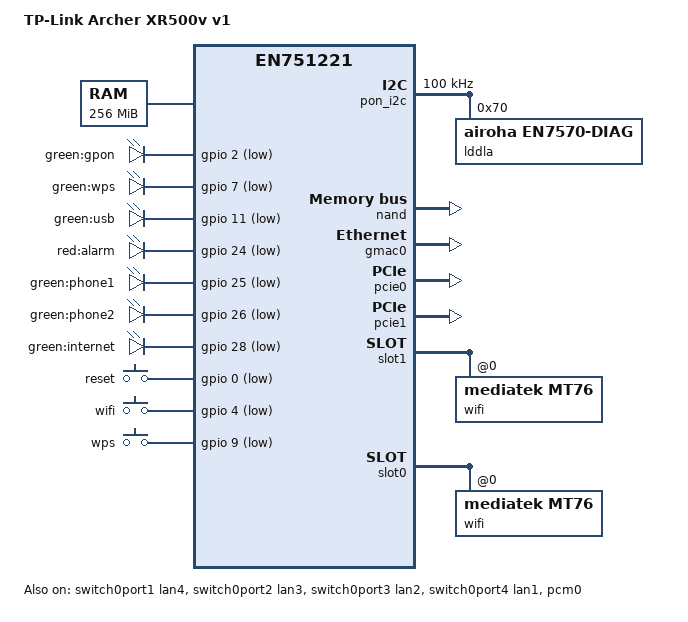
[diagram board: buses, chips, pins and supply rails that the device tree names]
// SPDX-License-Identifier: (GPL-2.0-only OR BSD-2-Clause)
/dts-v1/;

#include "en751221.dtsi"
#include <dt-bindings/gpio/gpio.h>
#include <dt-bindings/input/input.h>

/ {
	model = "TP-Link Archer XR500v v1";
	compatible = "tplink,archer-xr500v", "econet,en751221";

	memory@0 {
		device_type = "memory";
		reg = <0x00000000 0x10000000>;
	};

	/* EN751221 PON-I2C source clock, matching the OEM and the upstream
	 * econet-eth-mainline model. The existing tc3162 GPIO driver leaves
	 * CHIP_SCUL 0x104 PON-I2C pinmux bit enabled on this board. */
	pon_i2c_clock: pon-i2c-clock {
		compatible = "fixed-clock";
		#clock-cells = <0>;
		clock-frequency = <20000000>;
	};

	pon_i2c: i2c@1fbf8000 {
		compatible = "mediatek,mt7621-i2c";
		reg = <0x1fbf8000 0x100>;
		clocks = <&pon_i2c_clock>;
		clock-frequency = <100000>;
		#address-cells = <1>;
		#size-cells = <0>;
		status = "okay";

		/* Diagnostic-only binding: reads ID/variant and raw OEM status bits;
		 * deliberately has no reset, init, latch-clear, laser, APD, ADC, or
		 * DDMI paths. */
		lddla@70 {
			compatible = "airoha,en7570-diag";
			reg = <0x70>;
		};
	};

	/* build #63: reserved high region for the PPE FoE table, OEM-style
	 * (OEM PpeFoeBase = ioremap(0x0dc00000)). no-map -> kernel never uses
	 * it; the econet-eth driver accesses it uncached via KSEG1. Testing if
	 * the FE DMA master only materializes FORWARD_BUILD entries here. */
	reserved-memory {
		#address-cells = <1>;
		#size-cells = <1>;
		ranges;

		ppe_foe_rsv: ppe-foe@dc00000 {
			reg = <0x0dc00000 0x00180000>;
			no-map;
		};

		/* panic-capture (plan wf_b4447b85): best-effort ramoops at the
		 * TOP 1 MiB of the 256 MiB (avoids low PHY-training scratch).
		 * RAM survival across the warm reset is likely-not-proven (closed
		 * DDR init ROM); netconsole in bootargs is the PRIMARY capture.
		 * ecc-size: reed-solomon corrects sparse DRAM decay over the
		 * ~100 ms refresh-less reset gap. */
		ramoops@ff00000 {
			compatible = "ramoops";
			reg = <0x0ff00000 0x00100000>;
			record-size  = <0x00020000>;
			console-size = <0x00040000>;
			pmsg-size    = <0x00020000>;
			ftrace-size  = <0x00000000>;
			ecc-size     = <16>;
			max-reason   = <5>;	/* KMSG_DUMP_OOPS and worse */
			no-map;
		};
	};

	chosen {
		stdout-path = "/serial@1fbf0000:115200";
		/*
		 * UBI overlay is attached at preinit time by
		 * /lib/preinit/79_ubi_attach (see base-files), NOT via kernel
		 * cmdline ubi.mtd=. The kernel-time auto-attach was found to
		 * mismark OOB on this NAND via en75_bmt, breaking subsequent
		 * userspace ubiformat. Userspace ubiattach is consistent.
		 *
		 * netconsole (panic-capture PRIMARY): cmdline is empty +
		 * MIPS_CMDLINE_FROM_DTB=y, so this IS the kernel cmdline. dev
		 * MUST be eth0 (only netdev at netconsole's late_initcall; the
		 * DSA user ports appear much later and netpoll rejects them);
		 * eth0 has no IP so src-ip is required. Receiver = .8, dst-mac
		 * baked (NETCONSOLE_DYNAMIC off to save kernel bytes).
		 */
		bootargs = "console=ttyS0,115200 netconsole=6665@192.168.68.222/eth0,6666@192.168.68.8/bc:24:11:a4:b6:6c";
	};

	leds {
		compatible = "gpio-leds";

		led-2  { label = "green:gpon";     gpios = <&gpio 2  GPIO_ACTIVE_LOW>; linux,default-trigger = "default-on"; };
		led-7  { label = "green:wps";      gpios = <&gpio 7  GPIO_ACTIVE_LOW>; };
		led-11 { label = "green:usb";      gpios = <&gpio 11 GPIO_ACTIVE_LOW>; };
		/* WiFi 2.4/5GHz LEDs are inside the MT7603/MT7662 chips (driven by
		 * the mt76 cdevs mt76-phy0/mt76-phy1), NOT these SoC GPIOs. */
		led-24 { label = "red:alarm";      gpios = <&gpio 24 GPIO_ACTIVE_LOW>; };
		led-25 { label = "green:phone1";   gpios = <&gpio 25 GPIO_ACTIVE_LOW>; };
		led-26 { label = "green:phone2";   gpios = <&gpio 26 GPIO_ACTIVE_LOW>; };
		led-28 { label = "green:internet"; gpios = <&gpio 28 GPIO_ACTIVE_LOW>; };
	};

	/*
	 * Rear-panel buttons. GPIO lines reverse-engineered from the OEM
	 * tp_gpio.ko (tp_btn_def table: RST=gpio0, WIFI=gpio4, WPS=gpio9) and
	 * confirmed empirically on the device: each line idles high and is
	 * pulled low while pressed (active-low). The reset long-press window of
	 * 0x32=50 polls x 100 ms = 5 s in the OEM table matches the user-guide's
	 * "hold 5 s to factory reset".
	 *
	 * gpio-keys-polled (not gpio-keys): the tc3162-gpio controller exposes
	 * no per-line interrupts, so the buttons must be polled. The OpenWrt
	 * gpio-button-hotplug driver binds this node and emits BUTTON= hotplug
	 * events to /etc/rc.button/{reset,rfkill,wps}.
	 */
	keys {
		compatible = "gpio-keys-polled";
		poll-interval = <20>;

		reset {
			label = "reset";
			linux,code = <KEY_RESTART>;
			gpios = <&gpio 0 GPIO_ACTIVE_LOW>;
			debounce-interval = <60>;
		};

		wifi {
			label = "wifi";
			linux,code = <KEY_RFKILL>;
			gpios = <&gpio 4 GPIO_ACTIVE_LOW>;
			debounce-interval = <60>;
		};

		wps {
			label = "wps";
			linux,code = <KEY_WPS_BUTTON>;
			gpios = <&gpio 9 GPIO_ACTIVE_LOW>;
			debounce-interval = <60>;
		};
	};
};

&nand {
	status = "okay";
	econet,bmt;
	/*
	 * Allow en75_bmt to write a Bad Block Table to the NAND reserve
	 * area on first boot. Without this property the driver gives up
	 * with "BBT not found" and falls back to per-boot OOB scanning,
	 * which conflicts with UBI's ECC parity in OOB and causes UBI
	 * to misdetect every PEB as bad after a write. With BBT, the
	 * bad-block status comes from the table not the OOB markers,
	 * so UBI persistence works across reboots.
	 */
	econet,can-write-factory-bbt;
	/*
	 * Provide an empty factory-badblocks list so en75_bmt's pub_init takes
	 * the "factory_badblocks given -> reconstruct BMT only" branch and
	 * SKIPS the destructive r_reconstruct_bbt() OOB scan. The OOB scan
	 * walks every block reading byte 0 raw and treats non-0xFF as bad,
	 * but byte 0 gets contaminated by UBI's writes so the scan reports
	 * more false bad blocks each boot. With empty factory-badblocks,
	 * user-area shift stays at 0 across reboots, which keeps the UBIFS
	 * volume's logical->physical mapping stable.
	 *
	 * Real factory bad blocks (if any) in the user area are handled by
	 * UBI itself (CONFIG_MTD_UBI_BEB_LIMIT) — UBI marks them on first
	 * write/erase failure and skips them for life of the volume.
	 */
	econet,factory-badblocks = <>;

	partitions {
		compatible = "fixed-partitions";
		#address-cells = <1>;
		#size-cells = <1>;

		/* XR500v partition layout (from /proc/mtd stock firmware) */

		partition@0 {
			label = "boot";
			reg = <0x0 0x40000>;
			read-only;
		};

		partition@40000 {
			label = "romfile";
			reg = <0x40000 0x40000>;
			read-only;
		};

		partition@80000 {
			label = "kernel";
			reg = <0x80000 0x300000>;
		};

		partition@380000 {
			/*
			 * Slot A rootfs holds the stock OEM squashfs (LZMA-compressed).
			 * Renamed from "rootfs" to "rootfs_stock" so OpenWrt's
			 * mtdsplit-support patch (drivers/mtd/mtdpart.c) does NOT match
			 * this partition by name — otherwise mtdsplit_squashfs runs on
			 * mtd3 (stock) and the global rootfs_found flag prevents it
			 * from running on mtd7 (rootfs1) where we actually need the
			 * overlay split.
			 */
			label = "rootfs_stock";
			reg = <0x380000 0x1000000>;
			read-only;
		};

		misc_partition: partition@1380000 {
			compatible = "nvmem-cells";
			label = "misc";
			reg = <0x1380000 0x480000>;
			#address-cells = <1>;
			#size-cells = <1>;
			read-only;

			/*
			 * Factory-programmed device data lives in this partition.
			 * Confirmed via `dd if=/dev/mtd_misc skip=0xF100 count=6`
			 * matching the same offset in the OEM stock dump:
			 *   0xF100: <ETH MAC, 6 bytes>
			 * The rest of the partition (most of it) is 0xFF padding.
			 */
			macaddr_misc_f100: macaddr@f100 {
				reg = <0xf100 0x6>;
			};

			/*
			 * iter36: MT7662 factory EEPROM (chip ID 0x7662 confirmed
			 * at byte 0). 512 bytes containing calibration data
			 * (TX power per-channel, etc). The mt76x2e driver reads it via
			 * nvmem-cells = <&eeprom_misc_e0000>; nvmem-cell-names = "eeprom".
			 * Without this, the driver uses conservative defaults (TX=3dBm).
			 */
			eeprom_misc_e0000: eeprom@e0000 {
				reg = <0xe0000 0x200>;
			};
		};

		partition@1800000 {
			label = "kernel1";
			reg = <0x1800000 0x300000>;
		};

		partition@1b00000 {
			/*
			 * Slot B rootfs (raw squashfs).
			 * linux,rootfs marks this partition as the root device for
			 * mount_root. mtd-split-squashfs still creates a
			 * "rootfs_data" sub-partition automatically after the squashfs
			 * end, but from iter35 onwards we do NOT use it: the UBI overlay
			 * lives in its own "openwrt_ubi" partition in the free area
			 * 0x3000000-0x7000000 (confirmed empty with a full dump).
			 * The preinit hook 79_ubi_attach now points to openwrt_ubi.
			 */
			label = "rootfs1";
			reg = <0x1b00000 0x1000000>;
			linux,rootfs;
		};

		partition@2b00000 {
			label = "others";
			reg = <0x2b00000 0x4e0000>;
		};

		partition@2fe0000 {
			label = "bootflag";
			reg = <0x2fe0000 0x20000>;
		};

		/*
		 * iter35: dedicated UBI partition in the unused free area.
		 *
		 * The stock OEM exposes /dev/mtd0 = "ALL" at 0x07000000 (112MB)
		 * — that is the en75_bmt "user" space before its reserve area
		 * (922 user blocks * 128KB = ~115MB, OEM reports 112MB).
		 * The 9 existing partitions sum to 0x3000000 (48MB), leaving
		 * 0x3000000-0x7000000 (64MB) available. Confirmed erased
		 * with a full dump on 2026-05-08 (16 chunks of 4MB, all
		 * md5 hash = 4MB of 0xff).
		 *
		 * This partition is provisioned with ubiformat/ubiattach/ubimkvol
		 * from a running OpenWrt (one-time per device); the preinit hook
		 * 79_ubi_attach attaches it on every boot.
		 */
		partition@3000000 {
			label = "openwrt_ubi";
			reg = <0x3000000 0x4000000>;
		};
	};
};


&gmac0 {
	status = "okay";
	nvmem-cells = <&macaddr_misc_f100>;
	nvmem-cell-names = "mac-address";
};

/*
 * Plan B (correct model, Caleb's dual-switch MDIO/MCM):
 * switch0 is the MCM MT7530 (mediatek,mt7530 + mediatek,mcm) hanging off the
 * SoC ethernet's MDIO bus at address 0x1f. It has 4 user GE ports (port@0..3)
 * and port@6 = CPU (trgmii to gmac0). The on-die switch is configured by
 * the bootloader for the cascade and is NOT a DSA device.
 * Internal PHYs of the MCM switch are auto-detected by the mt7530 driver.
 */
&switch0port0 {
	status = "disabled";
};

&switch0port1 {
	status = "okay";
	label = "lan4";
};

&switch0port2 {
	status = "okay";
	label = "lan3";
};

&switch0port3 {
	status = "okay";
	label = "lan2";
};

&switch0port4 {
	status = "okay";
	label = "lan1";
};

/*
 * iter57 v2: Enable PCIe (lost status=okay during the dts rewrite)
 * pcie0 = port0 (no slot there)
 * pcie1 + slot1 = MT7662 WiFi card
 */

&pcie0 {
	status = "okay";
};

&pcie1 {
	status = "okay";
};

&slot1 {
	wifi@0,0 {
		/* MT7662 dual-band 802.11ac */
		compatible = "mediatek,mt76";
		reg = <0x0000 0 0 0 0>;
		nvmem-cells = <&eeprom_misc_e0000>, <&macaddr_misc_f100>;
		nvmem-cell-names = "eeprom", "mac-address";
		/* 5GHz MAC = base flash 0xf100 + 2 (= OEM scheme: wlan5 BSSID ...3A).
		 * Without this, the 5GHz stayed at the base ...38 and collided with the
		 * DSA conduit / 2.4 GHz when the MT7603 increment failed. */
		mac-address-increment = <2>;

		/* Panel 5GHz LED = MT7662 MAC LED pin 2, active-low. mt76
		 * kicks MT_LED_CTRL on pin 2; the phy1tpt throughput trigger
		 * is auto-assigned by the driver (no board.d/uci needed). */
		led {
			led-sources = <2>;
			led-active-low;
		};
	};
};

&slot0 {
	wifi@0,0 {
		/* MT7603 2.4GHz -- synthetic inline EEPROM (wall 2). MAC is a placeholder +
		 * cal from the real eFuse; replace with the real EEPROM in the future. */
		compatible = "mediatek,mt76";
		reg = <0x0000 0 0 0 0>;
		/* Real factory MAC: base flash 0xf100 + 1 (per-device, universal) */
		nvmem-cells = <&macaddr_misc_f100>;
		nvmem-cell-names = "mac-address";
		mac-address-increment = <1>;

		/* Panel 2.4GHz LED = MT7603 chip-internal GPIO12+GPIO13
		 * (active-low), driven by the mt7603 driver from the LED
		 * callbacks (phy0tpt trigger auto-assigned). */
		mediatek,gpio-led;

		mediatek,eeprom-data = /bits/ 8 <
			0x03 0x76 0x00 0x00 0x02 0x76 0x03 0x50 0x00 0x01 0x00 0x00 0x00 0x00 0x00 0x00
			0x00 0x00 0x00 0x00 0x00 0x00 0x00 0x00 0x00 0x00 0x00 0x00 0x00 0x00 0x00 0x00
			0x00 0x00 0x00 0x00 0x00 0x00 0x00 0x00 0x00 0x00 0x00 0x00 0x00 0x00 0x00 0x00
			0x00 0x00 0x00 0x00 0x22 0x00 0x00 0x00 0x00 0x00 0x00 0x00 0x00 0x00 0x00 0x00
			0x00 0x00 0x00 0x00 0x00 0x00 0x00 0x00 0x00 0x00 0x00 0x00 0x00 0x00 0x00 0x00
			0x00 0x00 0x00 0x00 0x00 0xb8 0x40 0xc8 0x20 0x00 0x00 0x00 0x40 0xc8 0x20 0x00
			0x00 0x00 0x00 0x00 0x00 0x00 0x00 0x00 0x00 0x00 0x00 0x00 0x00 0x00 0x00 0x00
			0x00 0x00 0x00 0x00 0x00 0x00 0x00 0x00 0x00 0x00 0x00 0x00 0x00 0x00 0x00 0x00
			0x00 0x00 0x00 0x00 0x00 0x00 0x00 0x00 0x00 0x00 0x00 0x00 0x00 0x00 0x00 0x00
			0x00 0x00 0x00 0x00 0x00 0x00 0x00 0x00 0x00 0x00 0x00 0x00 0x00 0x00 0x00 0x00
			0x00 0x00 0x00 0x00 0x00 0x00 0x00 0x00 0x00 0x00 0x00 0x00 0x00 0x00 0x00 0x00
			0x00 0x00 0x00 0x00 0x00 0x00 0x00 0x00 0x00 0x00 0x00 0x00 0x00 0x00 0x00 0x00
			0x00 0x00 0x00 0x00 0x00 0x00 0x00 0x00 0x00 0x00 0x00 0x00 0x00 0x00 0x00 0x00
			0x00 0x00 0x00 0x00 0x00 0x00 0x00 0x00 0x00 0x00 0x00 0x00 0x00 0x00 0x00 0x00
			0x00 0x00 0x00 0x00 0x00 0x00 0x00 0x00 0x00 0x00 0x00 0x00 0x00 0x00 0x00 0x00
			0x05 0x00 0x00 0x00 0xa4 0x00 0x00 0x88 0x00 0x00 0x00 0x00 0x00 0x00 0x00 0x00
			0x00 0x00 0x00 0x00 0x00 0x00 0x00 0x00 0x00 0x00 0x00 0x00 0x00 0x00 0x00 0x00
			0x00 0x00 0x00 0x00 0x00 0x00 0x00 0x00 0x00 0x00 0x00 0x00 0x00 0x00 0x00 0x00
			0x00 0x00 0x00 0x00 0x00 0x00 0x00 0x00 0x00 0x00 0x00 0x00 0x00 0x00 0x00 0x00
			0x00 0x00 0x00 0x00 0x00 0x00 0x00 0x00 0x00 0x00 0x00 0x00 0x00 0x00 0x00 0x00
			0x00 0x00 0x00 0x00 0x00 0x00 0x00 0x00 0x00 0x00 0x00 0x00 0x00 0x00 0x00 0x00
			0x00 0x00 0x00 0x00 0x00 0x00 0x00 0x00 0x00 0x00 0x00 0x00 0x00 0x00 0x00 0x00
			0x00 0x00 0x00 0x00 0x00 0x00 0x00 0x00 0x00 0x00 0x00 0x00 0x00 0x00 0x00 0x00
			0x00 0x00 0x00 0x00 0x00 0x00 0x00 0x00 0x00 0x00 0x00 0x00 0x00 0x00 0x00 0x00
			0x00 0x00 0x00 0x00 0x00 0x00 0x00 0x00 0x00 0x00 0x00 0x00 0x00 0x00 0x00 0x00
			0x00 0x00 0x00 0x00 0x00 0x00 0x00 0x00 0x00 0x00 0x00 0x00 0x00 0x00 0x00 0x00
			0x00 0x00 0x00 0x00 0x00 0x00 0x00 0x00 0x00 0x00 0x00 0x00 0x00 0x00 0x00 0x00
			0x00 0x00 0x00 0x00 0x00 0x00 0x00 0x00 0x00 0x00 0x00 0x00 0x00 0x00 0x00 0x00
			0x00 0x00 0x00 0x00 0x00 0x00 0x00 0x00 0x00 0x00 0x00 0x00 0x00 0x00 0x00 0x00
			0x00 0x00 0x00 0x00 0x00 0x00 0x00 0x00 0x00 0x00 0x00 0x00 0x00 0x00 0x00 0x00
			0x00 0x00 0x00 0x00 0x00 0x00 0x00 0x00 0x00 0x00 0x00 0x00 0x00 0x00 0x00 0x00
			0x00 0x00 0x00 0x00 0x00 0x00 0x00 0x00 0x00 0x00 0x00 0x00 0x00 0x00 0x00 0x00
			0x00 0x00 0x00 0x00 0x00 0x00 0x00 0x00 0x00 0x00 0x00 0x00 0x00 0x00 0x00 0x00
			0x00 0x00 0x00 0x00 0x00 0x00 0x00 0x00 0x00 0x00 0x00 0x00 0x00 0x00 0x00 0x00
			0x00 0x00 0x00 0x00 0x00 0x00 0x00 0x00 0x00 0x00 0x00 0x00 0x00 0x00 0x00 0x00
			0x00 0x00 0x00 0x00 0x00 0x00 0x00 0x00 0x00 0x00 0x00 0x00 0x00 0x00 0x00 0x00
			0x00 0x00 0x00 0x00 0x00 0x00 0x00 0x00 0x00 0x00 0x00 0x00 0x00 0x00 0x00 0x00
			0x00 0x00 0x00 0x00 0x00 0x00 0x00 0x00 0x00 0x00 0x00 0x00 0x00 0x00 0x00 0x00
			0x00 0x00 0x00 0x00 0x00 0x00 0x00 0x00 0x00 0x00 0x00 0x00 0x00 0x00 0x00 0x00
			0x00 0x00 0x00 0x00 0x00 0x00 0x00 0x00 0x00 0x00 0x00 0x00 0x00 0x00 0x00 0x00
			0x00 0x00 0x00 0x00 0x00 0x00 0x00 0x00 0x00 0x00 0x00 0x00 0x00 0x00 0x00 0x00
			0x00 0x00 0x00 0x00 0x00 0x00 0x00 0x00 0x00 0x00 0x00 0x00 0x00 0x00 0x00 0x00
			0x00 0x00 0x00 0x00 0x00 0x00 0x00 0x00 0x00 0x00 0x00 0x00 0x00 0x00 0x00 0x00
			0x00 0x00 0x00 0x00 0x00 0x00 0x00 0x00 0x00 0x00 0x00 0x00 0x00 0x00 0x00 0x00
			0x00 0x00 0x00 0x00 0x00 0x00 0x00 0x00 0x00 0x00 0x00 0x00 0x00 0x00 0x00 0x00
			0x00 0x00 0x00 0x00 0x00 0x00 0x00 0x00 0x00 0x00 0x00 0x00 0x00 0x00 0x00 0x00
			0x00 0x00 0x00 0x00 0x00 0x00 0x00 0x00 0x00 0x00 0x00 0x00 0x00 0x00 0x00 0x00
			0x00 0x00 0x00 0x00 0x00 0x00 0x00 0x00 0x00 0x00 0x00 0x00 0x00 0x00 0x00 0x00
			0x00 0x00 0x00 0x00 0x00 0x00 0x00 0x00 0x00 0x00 0x00 0x00 0x00 0x00 0x00 0x00
			0x00 0x00 0x00 0x00 0x00 0x00 0x00 0x00 0x00 0x00 0x00 0x00 0x00 0x00 0x00 0x00
			0x00 0x00 0x00 0x00 0x00 0x00 0x00 0x00 0x00 0x00 0x00 0x00 0x00 0x00 0x00 0x00
			0x00 0x00 0x00 0x00 0x00 0x00 0x00 0x00 0x00 0x00 0x00 0x00 0x00 0x00 0x00 0x00
			0x00 0x00 0x00 0x00 0x00 0x00 0x00 0x00 0x00 0x00 0x00 0x00 0x00 0x00 0x00 0x00
			0x00 0x00 0x00 0x00 0x00 0x00 0x00 0x00 0x00 0x00 0x00 0x00 0x00 0x00 0x00 0x00
			0x00 0x00 0x00 0x00 0x00 0x00 0x00 0x00 0x00 0x00 0x00 0x00 0x00 0x00 0x00 0x00
			0x00 0x00 0x00 0x00 0x00 0x00 0x00 0x00 0x00 0x00 0x00 0x00 0x00 0x00 0x00 0x00
			0x00 0x00 0x00 0x00 0x00 0x00 0x00 0x00 0x00 0x00 0x00 0x00 0x00 0x00 0x00 0x00
			0x00 0x00 0x00 0x00 0x00 0x00 0x00 0x00 0x00 0x00 0x00 0x00 0x00 0x00 0x00 0x00
			0x00 0x00 0x00 0x00 0x00 0x00 0x00 0x00 0x00 0x00 0x00 0x00 0x00 0x00 0x00 0x00
			0x00 0x00 0x00 0x00 0x00 0x00 0x00 0x00 0x00 0x00 0x00 0x00 0x00 0x00 0x00 0x00
			0x00 0x00 0x00 0x00 0x00 0x00 0x00 0x00 0x00 0x00 0x00 0x00 0x00 0x00 0x00 0x00
			0x00 0x00 0x00 0x00 0x00 0x00 0x00 0x00 0x00 0x00 0x00 0x00 0x00 0x00 0x00 0x00
			0x00 0x00 0x00 0x00 0x00 0x00 0x00 0x00 0x00 0x00 0x00 0x00 0x00 0x00 0x00 0x00
			0x00 0x00 0x00 0x00 0x00 0x00 0x00 0x00 0x00 0x00 0x00 0x00 0x00 0x00 0x00 0x00>;
	};
};


/* Plan B dual-switch: no port@5/phy overrides — the MCM switch auto-detects
 * its internal PHYs and the on-die cascade is bootloader-configured.
 */

/* VoIP/FXS phase 1: enable the PCM/TDM controller (Le9641 SLIC bring-up). */
&pcm0 {
	status = "okay";
};
